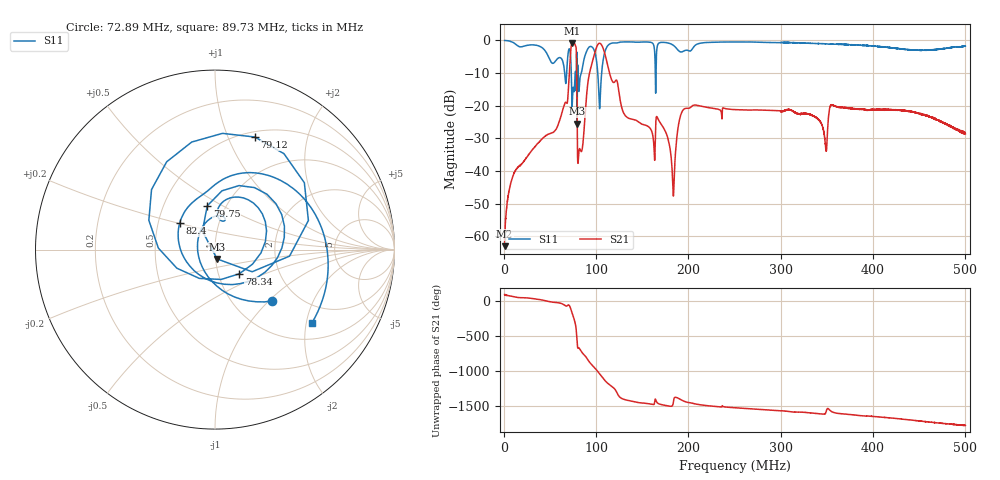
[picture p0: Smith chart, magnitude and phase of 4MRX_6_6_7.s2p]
! NanoVNA-App
! Date: 2026-08-19 18:01:09
! Start: 1MHz Stop: 500MHz Points: 6401
! S-Parameter data: F S11 S21 S12 S22
# Hz S RI R 50
!  Frequency  S11_Real  S11_Imag  S21_Real  S21_Imag  S12_Real  S12_Imag  S22_Real  S22_Imag
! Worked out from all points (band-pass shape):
!   6401 points, 1 MHz to 500 MHz, reference 50 ohm
!   highest |S21| = -0.73 dB at 74.37 MHz (marker M1); lowest = -63.1 dB at 1 MHz (marker M2)
!   |S21| within 3 dB of the highest: 72.39 MHz to 78.67 MHz (6.281 MHz wide, 8.32 % of centre); 98.73 MHz to 109.2 MHz (10.48 MHz wide, 10.1 % of centre)
!   lowest |S11| = -25.5 dB at 79.59 MHz (marker M3), VSWR 1.11, Z = 50.9 - j5.3 ohm
!   |S11| at or under -10 dB: 73.19 MHz to 77.45 MHz (4.256 MHz wide, 5.65 % of centre); 80.65 MHz to 84.02 MHz (3.37 MHz wide, 4.09 % of centre); 101.9 MHz to 106.1 MHz (4.199 MHz wide, 4.04 % of centre)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
!   S12 and S22 are empty: the file has one direction only
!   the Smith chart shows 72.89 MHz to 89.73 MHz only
!   S11 on the Smith chart (normalised r, x): 72.89 MHz: 1.49, -1.05; 78.34 MHz: 1.26, -0.35; 79.12 MHz: 0.56, +1.26; 79.75 MHz: 0.82, +0.43; 82.4 MHz: 0.65, +0.21; 89.73 MHz: 1.44, -2.17
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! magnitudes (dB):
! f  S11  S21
! 1 MHz  0.0  -63.1
! 11.84 MHz  -0.9  -40.3
! 59.4 MHz  -5.4  -25.5
! 72.89 MHz  -7.4  -2.2
! 74.37 MHz  -18.3  -0.7
! 78.34 MHz  -14.4  -2.1
! 79.12 MHz  -3.5  -10.9
! 79.59 MHz  -25.5  -23.4
! 79.75 MHz  -12.1  -29.7
! 82.4 MHz  -12.2  -33.2
! 84.19 MHz  -9.8  -34.0
! 89.73 MHz  -3.4  -17.0
! 104.2 MHz  -19.8  -0.9
! 111.9 MHz  -1.9  -6.8
! 131.8 MHz  -0.4  -23.1
! 167.4 MHz  -1.0  -24.2
! 183.4 MHz  -1.4  -46.3
! 195 MHz  -3.3  -21.1
! 250.5 MHz  -0.5  -21.2
! 333.7 MHz  -0.9  -22.9
! 416.9 MHz  -2.2  -21.3
! 500 MHz  -1.7  -28.6
